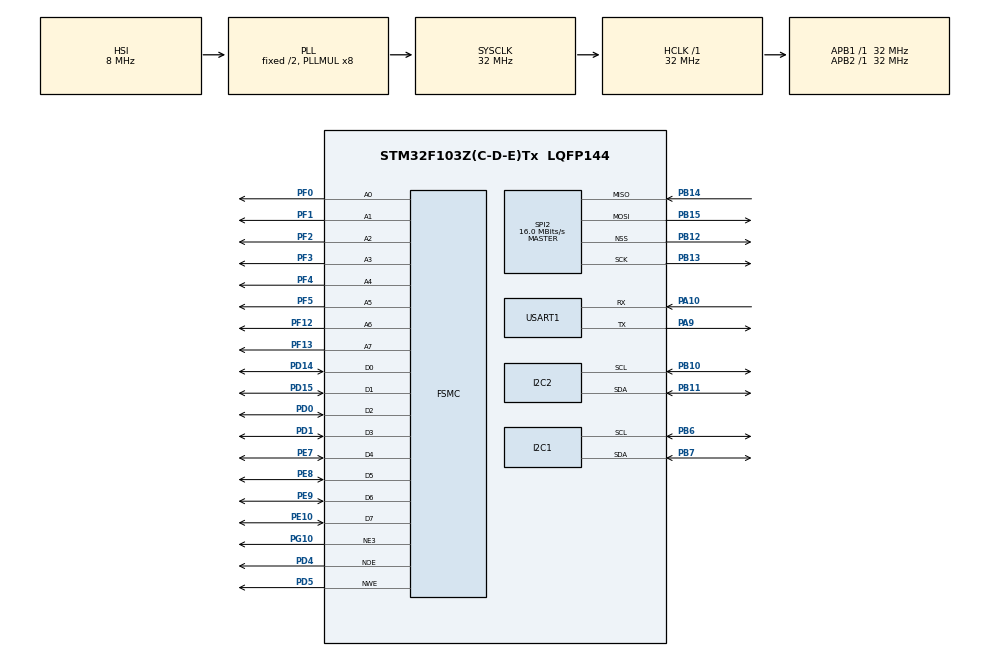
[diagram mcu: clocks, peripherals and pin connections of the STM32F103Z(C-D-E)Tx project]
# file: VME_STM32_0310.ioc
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Dma.Request0=USART1_RX
Dma.Request1=USART1_TX
Dma.USART1_RX.0.Direction=DMA_PERIPH_TO_MEMORY
Dma.USART1_RX.0.Instance=DMA1_Channel5
Dma.USART1_RX.0.MemDataAlignment=DMA_MDATAALIGN_BYTE
Dma.USART1_RX.0.MemInc=DMA_MINC_ENABLE
Dma.USART1_RX.0.Mode=DMA_NORMAL
Dma.USART1_RX.0.PeriphDataAlignment=DMA_PDATAALIGN_BYTE
Dma.USART1_RX.0.PeriphInc=DMA_PINC_DISABLE
Dma.USART1_RX.0.Priority=DMA_PRIORITY_LOW
Dma.USART1_TX.1.Direction=DMA_MEMORY_TO_PERIPH
Dma.USART1_TX.1.Instance=DMA1_Channel4
Dma.USART1_TX.1.MemDataAlignment=DMA_MDATAALIGN_BYTE
Dma.USART1_TX.1.MemInc=DMA_MINC_ENABLE
Dma.USART1_TX.1.Mode=DMA_NORMAL
Dma.USART1_TX.1.PeriphDataAlignment=DMA_PDATAALIGN_BYTE
Dma.USART1_TX.1.PeriphInc=DMA_PINC_DISABLE
Dma.USART1_TX.1.Priority=DMA_PRIORITY_LOW
FSMC.BusTurnAroundDuration3=0
FSMC.WriteOperation3=FSMC_WRITE_OPERATION_ENABLE
I2C2.OwnAddress=0x60
Mcu.Family=STM32F1
Mcu.Name=STM32F103Z(C-D-E)Tx
Mcu.Package=LQFP144
NVIC.DMA1_Channel4_IRQn=true\:0\:0\:false\:false\:true\:false\:true
NVIC.DMA1_Channel5_IRQn=true\:0\:0\:false\:false\:true\:false\:true
NVIC.I2C2_ER_IRQn=true\:0\:0\:false\:false\:true\:true\:true
NVIC.I2C2_EV_IRQn=true\:0\:0\:false\:false\:true\:true\:true
NVIC.PriorityGroup=NVIC_PRIORITYGROUP_4
NVIC.USART1_IRQn=true\:0\:0\:false\:false\:true\:true\:true
PA10.Mode=Asynchronous
PA10.Signal=USART1_RX
PA13.Mode=Serial_Wire
PA13.Signal=SYS_JTMS-SWDIO
PA14.Mode=Serial_Wire
PA14.Signal=SYS_JTCK-SWCLK
PA9.Mode=Asynchronous
PA9.Signal=USART1_TX
PB10.Mode=I2C
PB10.Signal=I2C2_SCL
PB11.Mode=I2C
PB11.Signal=I2C2_SDA
PB12.Mode=NSS_Signal_Hard_Output
PB12.Signal=SPI2_NSS
PB13.Mode=Full_Duplex_Master
PB13.Signal=SPI2_SCK
PB14.Mode=Full_Duplex_Master
PB14.Signal=SPI2_MISO
PB15.Mode=Full_Duplex_Master
PB15.Signal=SPI2_MOSI
PB6.Mode=I2C
PB6.Signal=I2C1_SCL
PB7.Mode=I2C
PB7.Signal=I2C1_SDA
PD0.Signal=FSMC_D2_DA2
PD1.Signal=FSMC_D3_DA3
PD14.Signal=FSMC_D0_DA0
PD15.Signal=FSMC_D1_DA1
PD3.Signal=FSMC_CLK
PD4.Signal=FSMC_NOE
PD5.Signal=FSMC_NWE
PE10.Signal=FSMC_D7_DA7
PE7.Signal=FSMC_D4_DA4
PE8.Signal=FSMC_D5_DA5
PE9.Signal=FSMC_D6_DA6
PF0.Signal=FSMC_A0
PF1.Signal=FSMC_A1
PF12.Signal=FSMC_A6
PF13.Signal=FSMC_A7
PF2.Signal=FSMC_A2
PF3.Signal=FSMC_A3
PF4.Signal=FSMC_A4
PF5.Signal=FSMC_A5
PG10.Mode=NorPsramChipSelect3_3
PG10.Signal=FSMC_NE3
ProjectManager.HeapSize=0x200
ProjectManager.StackSize=0x400
ProjectManager.TargetToolchain=MDK-ARM V5
RCC.AHBFreq_Value=32000000
RCC.APB1Freq_Value=32000000
RCC.APB1TimFreq_Value=32000000
RCC.APB2Freq_Value=32000000
RCC.APB2TimFreq_Value=32000000
RCC.HCLKFreq_Value=32000000
RCC.PLLMUL=RCC_PLL_MUL8
RCC.SYSCLKFreq_VALUE=32000000
RCC.SYSCLKSource=RCC_SYSCLKSOURCE_PLLCLK
RCC.USBFreq_Value=32000000
SH.FSMC_A0.0=FSMC_A0,8b-a3
SH.FSMC_A1.0=FSMC_A1,8b-a3
SH.FSMC_A2.0=FSMC_A2,8b-a3
SH.FSMC_A3.0=FSMC_A3,8b-a3
SH.FSMC_A4.0=FSMC_A4,8b-a3
SH.FSMC_A5.0=FSMC_A5,8b-a3
SH.FSMC_A6.0=FSMC_A6,8b-a3
SH.FSMC_A7.0=FSMC_A7,8b-a3
SH.FSMC_CLK.0=FSMC_CLK
SH.FSMC_D0_DA0.0=FSMC_D0,8b-d3
SH.FSMC_D1_DA1.0=FSMC_D1,8b-d3
SH.FSMC_D2_DA2.0=FSMC_D2,8b-d3
SH.FSMC_D3_DA3.0=FSMC_D3,8b-d3
SH.FSMC_D4_DA4.0=FSMC_D4,8b-d3
SH.FSMC_D5_DA5.0=FSMC_D5,8b-d3
SH.FSMC_D6_DA6.0=FSMC_D6,8b-d3
SH.FSMC_D7_DA7.0=FSMC_D7,8b-d3
SH.FSMC_NOE.0=FSMC_NOE,Psram3
SH.FSMC_NWE.0=FSMC_NWE,Psram3
SPI2.CalculateBaudRate=16.0 MBits/s
SPI2.Direction=SPI_DIRECTION_2LINES
SPI2.Mode=SPI_MODE_MASTER
SPI2.VirtualNSS=VM_NSSHARD
SPI2.VirtualType=VM_MASTER
USART1.VirtualMode=VM_ASYNC
board=custom

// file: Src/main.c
/* USER CODE BEGIN Header */
/**
  ******************************************************************************
  * @file           : main.c
  * @brief          : Main program body
  ******************************************************************************
  * @attention
  *
  * <h2><center>&copy; Copyright (c) 2020 STMicroelectronics.
  * All rights reserved.</center></h2>
  *
  * This software component is licensed by ST under BSD 3-Clause license,
  * the "License"; You may not use this file except in compliance with the
  * License. You may obtain a copy of the License at:
  *                        opensource.org/licenses/BSD-3-Clause
  *
  ******************************************************************************
  */
/* USER CODE END Header */

#include "main.h"
#include "vme.h"

/* USER CODE BEGIN PD */
uint8_t UART_TMPChar[1];
uint8_t I2C_TMPChar[1];
uint8_t UART_Buffer[UART_BUF_SIZE];
uint8_t I2C_Buffer[I2C_BUF_SIZE];
uint8_t UART_W_Cnt = 0;
uint8_t UART_R_Cnt = 0;
uint8_t I2C_R_Cnt = 0;
uint8_t uart1_input_flag = 0;
uint32_t DSP_BOOT_GPIO;
uint8_t DSP_RESET;
uint8_t POWERDOWN_5V;
uint8_t POWERUP_5V;
uint8_t DSP_ROM_VER;
uint8_t S3_ROM_VER;
uint8_t IPMC_VER;
uint8_t DSP_TEMP;
uint8_t IPMC_TEMP;
/* USER CODE END PD */

I2C_HandleTypeDef hi2c1;
I2C_HandleTypeDef hi2c2;

SPI_HandleTypeDef hspi2;

UART_HandleTypeDef huart1;
DMA_HandleTypeDef hdma_usart1_rx;
DMA_HandleTypeDef hdma_usart1_tx;

SRAM_HandleTypeDef hsram3;

void SystemClock_Config(void);
static void MX_GPIO_Init(void);
static void MX_DMA_Init(void);
static void MX_FSMC_Init(void);
static void MX_I2C1_Init(void);
static void MX_I2C2_Init(void);
static void MX_SPI2_Init(void);
static void MX_USART1_UART_Init(void);

int main(void)
{

  /* MCU Configuration--------------------------------------------------------*/

  /* Reset of all peripherals, Initializes the Flash interface and the Systick. */
  HAL_Init();

  /* Configure the system clock */
  SystemClock_Config();

  /* Initialize all configured peripherals */
  MX_GPIO_Init();
  MX_DMA_Init();
  MX_FSMC_Init();
  MX_I2C1_Init();
  MX_I2C2_Init();
  MX_SPI2_Init();
  MX_USART1_UART_Init();
	HAL_UART_Receive_IT(&huart1, (uint8_t *)&UART_TMPChar, 1);
	HAL_I2C_Slave_Receive_IT(&hi2c2, (uint8_t*)&I2C_TMPChar, 1);
  /* Infinite loop */
  while (1)
  {

		vme_startup();
		HAL_Delay(1000);
  }
}

void SystemClock_Config(void)
{
  RCC_OscInitTypeDef RCC_OscInitStruct = {0};
  RCC_ClkInitTypeDef RCC_ClkInitStruct = {0};

  /** Initializes the CPU, AHB and APB busses clocks
  */
  RCC_OscInitStruct.OscillatorType = RCC_OSCILLATORTYPE_HSI;
  RCC_OscInitStruct.HSIState = RCC_HSI_ON;
  RCC_OscInitStruct.HSICalibrationValue = RCC_HSICALIBRATION_DEFAULT;
  RCC_OscInitStruct.PLL.PLLState = RCC_PLL_ON;
  RCC_OscInitStruct.PLL.PLLSource = RCC_PLLSOURCE_HSI_DIV2;
  RCC_OscInitStruct.PLL.PLLMUL = RCC_PLL_MUL8;
  if (HAL_RCC_OscConfig(&RCC_OscInitStruct) != HAL_OK)
  {
    Error_Handler();
  }
  /** Initializes the CPU, AHB and APB busses clocks
  */
  RCC_ClkInitStruct.ClockType = RCC_CLOCKTYPE_HCLK|RCC_CLOCKTYPE_SYSCLK
                              |RCC_CLOCKTYPE_PCLK1|RCC_CLOCKTYPE_PCLK2;
  RCC_ClkInitStruct.SYSCLKSource = RCC_SYSCLKSOURCE_PLLCLK;
  RCC_ClkInitStruct.AHBCLKDivider = RCC_SYSCLK_DIV1;
  RCC_ClkInitStruct.APB1CLKDivider = RCC_HCLK_DIV1;
  RCC_ClkInitStruct.APB2CLKDivider = RCC_HCLK_DIV1;

  if (HAL_RCC_ClockConfig(&RCC_ClkInitStruct, FLASH_LATENCY_1) != HAL_OK)
  {
    Error_Handler();
  }
}

static void MX_I2C1_Init(void)
{

  hi2c1.Instance = I2C1;
  hi2c1.Init.ClockSpeed = 100000;
  hi2c1.Init.DutyCycle = I2C_DUTYCYCLE_2;
  hi2c1.Init.OwnAddress1 = 0;
  hi2c1.Init.AddressingMode = I2C_ADDRESSINGMODE_7BIT;
  hi2c1.Init.DualAddressMode = I2C_DUALADDRESS_DISABLE;
  hi2c1.Init.OwnAddress2 = 0;
  hi2c1.Init.GeneralCallMode = I2C_GENERALCALL_DISABLE;
  hi2c1.Init.NoStretchMode = I2C_NOSTRETCH_DISABLE;
  if (HAL_I2C_Init(&hi2c1) != HAL_OK)
  {
    Error_Handler();
  }

}

static void MX_I2C2_Init(void)
{

  hi2c2.Instance = I2C2;
  hi2c2.Init.ClockSpeed = 100000;
  hi2c2.Init.DutyCycle = I2C_DUTYCYCLE_2;
  hi2c2.Init.OwnAddress1 = 0x60;
  hi2c2.Init.AddressingMode = I2C_ADDRESSINGMODE_7BIT;
  hi2c2.Init.DualAddressMode = I2C_DUALADDRESS_DISABLE;
  hi2c2.Init.OwnAddress2 = 0;
  hi2c2.Init.GeneralCallMode = I2C_GENERALCALL_DISABLE;
  hi2c2.Init.NoStretchMode = I2C_NOSTRETCH_DISABLE;
  if (HAL_I2C_Init(&hi2c2) != HAL_OK)
  {
    Error_Handler();
  }

}
#if  1
void HAL_I2C_SlaveRxCpltCallback(I2C_HandleTypeDef *hi2c)
{
	if(hi2c == &hi2c2)
	{
		if(I2C_TMPChar[0] == 0x01) {
			uint8_t temp[4];
			temp[0] =
			HAL_I2C_Slave_Transmit(&hi2c2, );
		}
		I2C_Buffer[I2C_R_Cnt++] = I2C_TMPChar[0];
	}
	HAL_I2C_Slave_Receive_IT(&hi2c2, (uint8_t*)&I2C_TMPChar, 1);
}
#else
#endif
static void MX_SPI2_Init(void)
{

  /* SPI2 parameter configuration*/
  hspi2.Instance = SPI2;
  hspi2.Init.Mode = SPI_MODE_MASTER;
  hspi2.Init.Direction = SPI_DIRECTION_2LINES;
  hspi2.Init.DataSize = SPI_DATASIZE_8BIT;
  hspi2.Init.CLKPolarity = SPI_POLARITY_LOW;
  hspi2.Init.CLKPhase = SPI_PHASE_1EDGE;
  hspi2.Init.NSS = SPI_NSS_HARD_OUTPUT;
  hspi2.Init.BaudRatePrescaler = SPI_BAUDRATEPRESCALER_2;
  hspi2.Init.FirstBit = SPI_FIRSTBIT_MSB;
  hspi2.Init.TIMode = SPI_TIMODE_DISABLE;
  hspi2.Init.CRCCalculation = SPI_CRCCALCULATION_DISABLE;
  hspi2.Init.CRCPolynomial = 10;
  if (HAL_SPI_Init(&hspi2) != HAL_OK)
  {
    Error_Handler();
  }

}

static void MX_USART1_UART_Init(void)
{

  huart1.Instance = USART1;
  huart1.Init.BaudRate = 115200;
  huart1.Init.WordLength = UART_WORDLENGTH_8B;
  huart1.Init.StopBits = UART_STOPBITS_1;
  huart1.Init.Parity = UART_PARITY_NONE;
  huart1.Init.Mode = UART_MODE_TX_RX;
  huart1.Init.HwFlowCtl = UART_HWCONTROL_NONE;
  huart1.Init.OverSampling = UART_OVERSAMPLING_16;
  if (HAL_UART_Init(&huart1) != HAL_OK)
  {
    Error_Handler();
  }

}
#if 1
void HAL_UART_RxCpltCallback(UART_HandleTypeDef *huart)
{
    UNUSED(huart);
    if (UART_W_Cnt >= UART_BUF_SIZE) {
        UART_W_Cnt = 0;
        memset(UART_Buffer, 0, sizeof(UART_Buffer));
    } else {
        UART_Buffer[UART_W_Cnt++] = UART_TMPChar[0];
    }

    if (UART_TMPChar[0] == 0x08) { //Backspace
        if (UART_W_Cnt > 1) {
            HAL_UART_Transmit(&huart1, UART_TMPChar, 1, 0xFFFF);
            printf(" ");
            HAL_UART_Transmit(&huart1, UART_TMPChar, 1, 0xFFFF);
            UART_W_Cnt -= 2;
        } else {
            UART_W_Cnt = 0;
        }
    } else if (UART_TMPChar[0] == '\r') {
        printf("\r\n");

        if (1 == UART_W_Cnt) {
            UART_Buffer[UART_W_Cnt-1] = '\0';
        } else {
            UART_Buffer[UART_W_Cnt-1] = ' ';
            UART_Buffer[UART_W_Cnt] = '\0';
        }
        UART_W_Cnt = 0;
				uart1_input_flag = 1;
    }else {
        HAL_UART_Transmit(&huart1, UART_TMPChar, 1, 0xFFFF);
    }

    HAL_UART_Receive_IT(&huart1, (uint8_t *)&UART_TMPChar, 1);
}
#else
#endif
static void MX_DMA_Init(void)
{

  /* DMA controller clock enable */
  __HAL_RCC_DMA1_CLK_ENABLE();

  /* DMA interrupt init */
  /* DMA1_Channel4_IRQn interrupt configuration */
  HAL_NVIC_SetPriority(DMA1_Channel4_IRQn, 0, 0);
  HAL_NVIC_EnableIRQ(DMA1_Channel4_IRQn);
  /* DMA1_Channel5_IRQn interrupt configuration */
  HAL_NVIC_SetPriority(DMA1_Channel5_IRQn, 0, 0);
  HAL_NVIC_EnableIRQ(DMA1_Channel5_IRQn);

}

static void MX_GPIO_Init(void)
{

  /* GPIO Ports Clock Enable */
  __HAL_RCC_GPIOF_CLK_ENABLE();
  __HAL_RCC_GPIOE_CLK_ENABLE();
  __HAL_RCC_GPIOB_CLK_ENABLE();
  __HAL_RCC_GPIOD_CLK_ENABLE();
  __HAL_RCC_GPIOA_CLK_ENABLE();
  __HAL_RCC_GPIOG_CLK_ENABLE();

}

/* FSMC initialization function */
static void MX_FSMC_Init(void)
{

  FSMC_NORSRAM_TimingTypeDef Timing = {0};

  /** Perform the SRAM3 memory initialization sequence
  */
  hsram3.Instance = FSMC_NORSRAM_DEVICE;
  hsram3.Extended = FSMC_NORSRAM_EXTENDED_DEVICE;
  /* hsram3.Init */
  hsram3.Init.NSBank = FSMC_NORSRAM_BANK3;
  hsram3.Init.DataAddressMux = FSMC_DATA_ADDRESS_MUX_DISABLE;
  hsram3.Init.MemoryType = FSMC_MEMORY_TYPE_PSRAM;
  hsram3.Init.MemoryDataWidth = FSMC_NORSRAM_MEM_BUS_WIDTH_16;
  hsram3.Init.BurstAccessMode = FSMC_BURST_ACCESS_MODE_DISABLE;
  hsram3.Init.WaitSignalPolarity = FSMC_WAIT_SIGNAL_POLARITY_LOW;
  hsram3.Init.WrapMode = FSMC_WRAP_MODE_DISABLE;
  hsram3.Init.WaitSignalActive = FSMC_WAIT_TIMING_BEFORE_WS;
  hsram3.Init.WriteOperation = FSMC_WRITE_OPERATION_ENABLE;
  hsram3.Init.WaitSignal = FSMC_WAIT_SIGNAL_DISABLE;
  hsram3.Init.ExtendedMode = FSMC_EXTENDED_MODE_DISABLE;
  hsram3.Init.AsynchronousWait = FSMC_ASYNCHRONOUS_WAIT_DISABLE;
  hsram3.Init.WriteBurst = FSMC_WRITE_BURST_DISABLE;
  /* Timing */
  Timing.AddressSetupTime = 0x0A;
  Timing.AddressHoldTime = 0x01;
  Timing.DataSetupTime = 0x03;
  Timing.BusTurnAroundDuration = 0;
  Timing.CLKDivision = 0;
  Timing.DataLatency = 0;
  Timing.AccessMode = FSMC_ACCESS_MODE_A;
  /* ExtTiming */

  if (HAL_SRAM_Init(&hsram3, &Timing, NULL) != HAL_OK)
  {
    Error_Handler( );
  }

  /** Disconnect NADV
  */

  __HAL_AFIO_FSMCNADV_DISCONNECTED();

}

/* USER CODE BEGIN 4 */
#ifdef __GNUC__
    #define PUTCHAR_PROTOTYPE int __io_putchar(int ch)
#else
    #define PUTCHAR_PROTOTYPE int fputc(int ch, FILE *f)
#endif
PUTCHAR_PROTOTYPE
{
    HAL_UART_Transmit(&huart1, (uint8_t *)&ch, 1, 0xFFFF);

    return ch;
}
/* USER CODE END 4 */

void Error_Handler(void)
{
}

/************************ (C) COPYRIGHT STMicroelectronics *****END OF FILE****/
